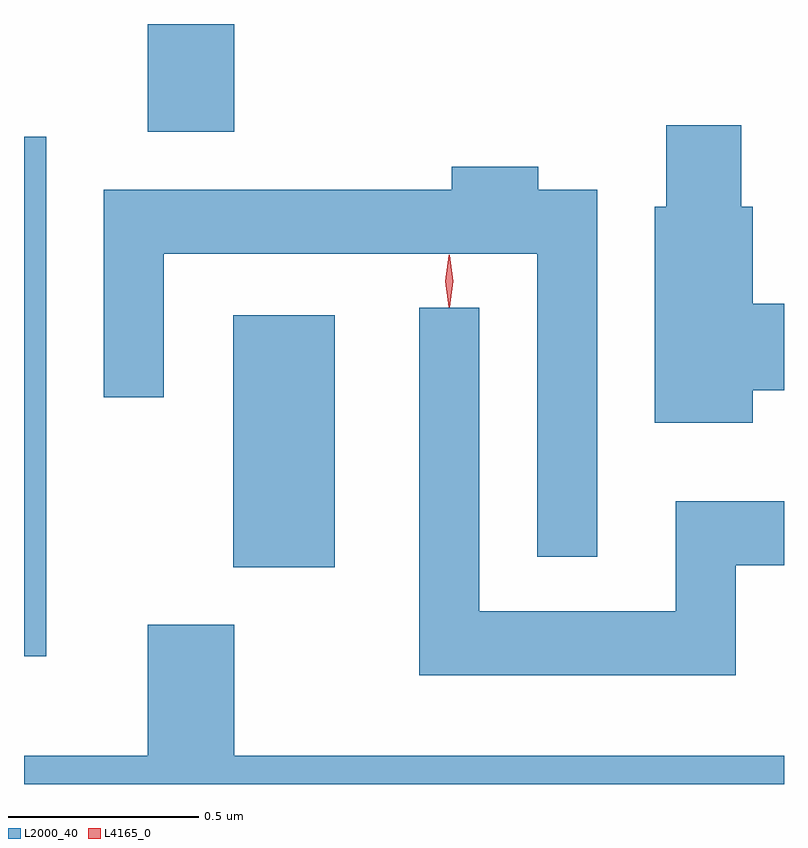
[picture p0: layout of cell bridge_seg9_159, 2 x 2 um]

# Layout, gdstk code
import gdstk
lib = gdstk.Library(unit=1e-6, precision=1e-09)
def R(c, l, rs):  # rectangles x0, y0, x1, y1
    for r in rs: c.add(gdstk.rectangle(r[:2], r[2:], *l))
def P(c, l, *ps):  # polygons
    for p in ps: c.add(gdstk.Polygon(p, *l))
L2000_40 = (2000, 40)
L4165_0 = (4165, 0)

bridge_seg9_159 = lib.new_cell('bridge_seg9_159')
R(bridge_seg9_159, L2000_40, [(1405.006,2070.046,1405.064,2071.413), (1405.556,2070.281,1405.824,2070.944), (1405.331,2071.426,1405.559,2071.71)])
P(bridge_seg9_159, L2000_40, [(1406.924,2070.746),(1407.006,2070.746),(1407.006,2070.974),(1406.924,2070.974),(1406.924,2071.229),(1406.894,2071.229),(1406.894,2071.444),(1406.696,2071.444),(1406.696,2071.229),(1406.666,2071.229),(1406.666,2070.661),(1406.924,2070.661)],
  [(1406.514,2071.274),(1406.359,2071.274),(1406.359,2071.334),(1406.131,2071.334),(1406.131,2071.274),(1405.216,2071.274),(1405.216,2070.728),(1405.374,2070.728),(1405.374,2071.106),(1406.356,2071.106),(1406.356,2070.308),(1406.514,2070.308)],
  [(1406.879,2070.286),(1407.006,2070.286),(1407.006,2070.454),(1406.721,2070.454),(1406.721,2070.164),(1406.204,2070.164),(1406.204,2070.963),(1406.046,2070.963),(1406.046,2069.996),(1406.879,2069.996)],
  [(1407.006,2069.784),(1405.559,2069.784),(1405.559,2070.129),(1405.331,2070.129),(1405.331,2069.784),(1405.006,2069.784),(1405.006,2069.71),(1407.006,2069.71)])
P(bridge_seg9_159, L4165_0, [(1406.124,2070.964),(1406.115,2071.033),(1406.124,2071.102),(1406.125,2071.103),(1406.126,2071.102),(1406.135,2071.033),(1406.126,2070.964),(1406.125,2070.964)])

lib.write_gds('bridge_seg9_159.gds')
